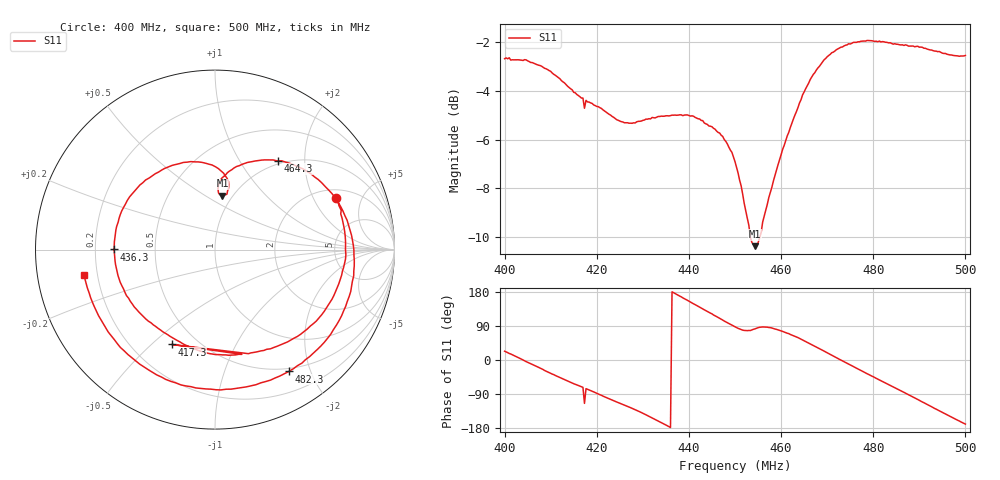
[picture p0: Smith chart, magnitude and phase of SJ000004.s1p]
!File created by NanoVNA-F V2
# Hz S RI R 50
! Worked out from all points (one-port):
!   301 points, 400 MHz to 500 MHz, reference 50 ohm
!   lowest |S11| = -10.4 dB at 454.3 MHz (marker M1), VSWR 1.87, Z = 45 + j29.8 ohm
!   |S11| at or under -10 dB: 453.3429 MHz to 455.362 MHz (2.019 MHz wide, 0.444 % of centre)
!   S11 on the Smith chart (normalised r, x): 400 MHz: 2.43, +3.04; 417.3 MHz: 0.36, -0.58; 436.3 MHz: 0.28, +0.00; 464.3 MHz: 0.95, +1.48; 482.3 MHz: 0.46, -1.68; 500 MHz: 0.15, -0.09
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4e8  0.6736 0.289
4.06e8  0.7056 -0.1424
4.126667e8  0.4224 -0.5037
4.17e8  0.1867 -0.5798
4.173333e8  -0.2404 -0.5285
4.176666e8  0.1495 -0.5837
4.25e8  -0.223 -0.4991
4.303333e8  -0.4354 -0.3348
4.363333e8  -0.5621 0.001
4.376666e8  -0.5552 0.0881
4.406666e8  -0.4888 0.2736
4.446666e8  -0.2961 0.4438
4.473333e8  -0.135 0.4902
4.5e8  0.0191 0.4512
4.516666e8  0.0751 0.3802
4.543333e8  0.0416 0.3005
4.579999e8  0.0383 0.3984
4.626666e8  0.2409 0.4962
4.643333e8  0.3486 0.4938
4.669999e8  0.5333 0.4234
4.699999e8  0.6991 0.2414
4.749999e8  0.7655 -0.1763
4.789999e8  0.6286 -0.4924
4.823333e8  0.4113 -0.6789
4.876666e8  -0.0228 -0.7775
4.906666e8  -0.2756 -0.7227
4.943332e8  -0.5273 -0.545
4.999999e8  -0.7309 -0.1405
